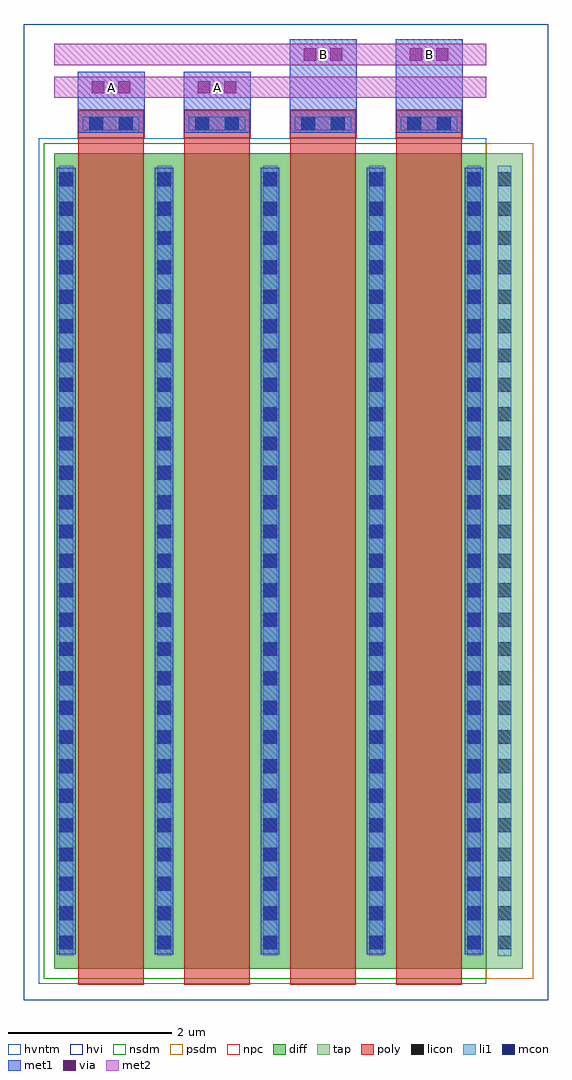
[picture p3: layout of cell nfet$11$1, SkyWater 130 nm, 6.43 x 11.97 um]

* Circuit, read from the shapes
.subckt nfet$11$1 A B
XM1 n1 A n2 VSUBS sky130_fd_pr__nfet_g5v0d10v5 w=10 l=0.8
XM2 n3 A n1 VSUBS sky130_fd_pr__nfet_g5v0d10v5 w=10 l=0.8
XM3 n4 B n3 VSUBS sky130_fd_pr__nfet_g5v0d10v5 w=10 l=0.8
XM4 VSUBS B n4 VSUBS sky130_fd_pr__nfet_g5v0d10v5 w=10 l=0.8
.ends

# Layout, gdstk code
import gdstk
lib = gdstk.Library(unit=1e-6, precision=1e-09)
def R(c, l, rs):  # rectangles x0, y0, x1, y1
    for r in rs: c.add(gdstk.rectangle(r[:2], r[2:], *l))
def A(c, l, x, y, w, h, nx, ny, dx, dy):  # array of equal rectangles
    R(c, l, [(x+i*dx, y+j*dy, x+i*dx+w, y+j*dy+h) for i in range(nx) for j in range(ny)])
diff = (65, 20)
tap = (65, 44)
poly = (66, 20)
licon = (66, 44)
li1 = (67, 20)
mcon = (67, 44)
met1 = (68, 20)
via = (68, 44)
met2 = (69, 20)
hvi = (75, 20)
nsdm = (93, 44)
psdm = (94, 20)
npc = (95, 20)
hvntm = (125, 20)

nfet_11_1 = lib.new_cell('nfet$11$1')
R(nfet_11_1, diff, [(0,0,5.3,10)])
R(nfet_11_1, tap, [(5.3,0,5.75,10)])
A(nfet_11_1, poly, 0.3, -0.2, 0.8, 10.4, 4, 1, 1.3, 0)
A(nfet_11_1, poly, 0.3, 10.2, 0.8, 0.33, 4, 1, 1.3, 0)
A(nfet_11_1, licon, 0.065, 0.235, 0.17, 0.17, 1, 27, 0, 0.36)
A(nfet_11_1, licon, 1.265, 0.235, 0.17, 0.17, 3, 27, 1.3, 0.36)
A(nfet_11_1, licon, 5.065, 0.235, 0.17, 0.17, 1, 27, 0, 0.36)
A(nfet_11_1, licon, 5.44, 0.235, 0.17, 0.17, 1, 27, 0, 0.36)
R(nfet_11_1, licon, [(0.435,10.28,0.605,10.45), (0.795,10.28,0.965,10.45), (1.735,10.28,1.905,10.45), (2.095,10.28,2.265,10.45), (3.035,10.28,3.205,10.45), (3.395,10.28,3.565,10.45), (4.335,10.28,4.505,10.45), (4.695,10.28,4.865,10.45)])
A(nfet_11_1, li1, 1.265, 0.155, 0.17, 9.69, 3, 1, 1.3, 0)
A(nfet_11_1, li1, 0.355, 10.28, 0.69, 0.17, 4, 1, 1.3, 0)
R(nfet_11_1, li1, [(0.065,0.155,0.235,9.845), (5.065,0.155,5.235,9.845), (5.44,0.155,5.61,9.845)])
A(nfet_11_1, mcon, 0.065, 0.235, 0.17, 0.17, 1, 27, 0, 0.36)
A(nfet_11_1, mcon, 1.265, 0.235, 0.17, 0.17, 3, 27, 1.3, 0.36)
A(nfet_11_1, mcon, 5.065, 0.235, 0.17, 0.17, 1, 27, 0, 0.36)
R(nfet_11_1, mcon, [(0.435,10.28,0.605,10.45), (0.795,10.28,0.965,10.45), (1.735,10.28,1.905,10.45), (2.095,10.28,2.265,10.45), (3.035,10.28,3.205,10.45), (3.395,10.28,3.565,10.45), (4.335,10.28,4.505,10.45), (4.695,10.28,4.865,10.45)])
A(nfet_11_1, met1, 1.235, 0.175, 0.23, 9.65, 3, 1, 1.3, 0)
A(nfet_11_1, met1, 0.375, 10.25, 0.65, 0.23, 4, 1, 1.3, 0)
R(nfet_11_1, met1, [(0.035,0.175,0.265,9.825), (5.035,0.175,5.265,9.825), (0.29,10.25,1.11,11), (1.59,10.25,2.41,11), (2.89,10.25,3.71,11.4), (4.19,10.25,5.01,11.4)])
R(nfet_11_1, via, [(0.465,10.735,0.615,10.885), (0.785,10.735,0.935,10.885), (1.765,10.735,1.915,10.885), (2.085,10.735,2.235,10.885), (3.065,11.135,3.215,11.285), (3.385,11.135,3.535,11.285), (4.365,11.135,4.515,11.285), (4.685,11.135,4.835,11.285)])
R(nfet_11_1, met2, [(0,10.68,5.3,10.94), (0,11.08,5.3,11.34)])
R(nfet_11_1, hvi, [(-0.37,-0.385,6.06,11.585)])
R(nfet_11_1, nsdm, [(-0.125,-0.125,5.3,10.125)])
R(nfet_11_1, psdm, [(5.3,-0.125,5.875,10.125)])
A(nfet_11_1, npc, 0.29, 10.19, 0.82, 0.35, 4, 1, 1.3, 0)
R(nfet_11_1, hvntm, [(-0.185,-0.185,5.3,10.185)])
nfet_11_1.add(gdstk.Label('A', (0.7,10.81), layer=68, texttype=5))
nfet_11_1.add(gdstk.Label('A', (2,10.81), layer=68, texttype=5))
nfet_11_1.add(gdstk.Label('B', (3.3,11.21), layer=68, texttype=5))
nfet_11_1.add(gdstk.Label('B', (4.6,11.21), layer=68, texttype=5))

lib.write_gds('nfet_11_1.gds')
